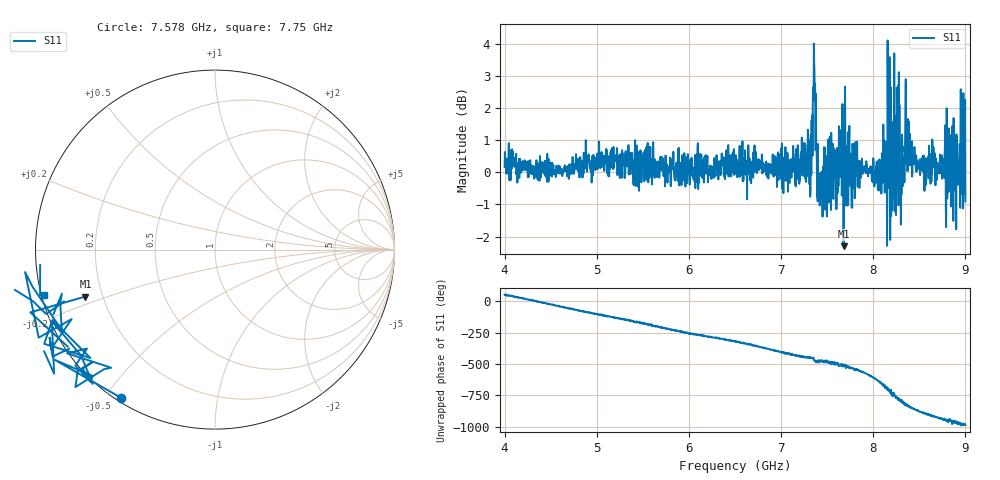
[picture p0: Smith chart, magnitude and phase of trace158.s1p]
! Created with skrf 1.8.0 (http://scikit-rf.org).
# Hz S RI R 50.0
!freq ReS11 ImS11
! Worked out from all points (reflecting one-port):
!   1601 points, 4 GHz to 9 GHz, reference 50 ohm
!   lowest |S11| = -2.3 dB at 7.678 GHz (marker M1), VSWR 7.60, Z = 6.78 - j8.62 ohm
!   phase of S11 starts at 51 deg and turns -1036 deg over the sweep
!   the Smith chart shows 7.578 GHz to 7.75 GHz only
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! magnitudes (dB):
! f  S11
! 4 GHz  0.2
! 4.625 GHz  -0.1
! 5.25 GHz  -0.2
! 5.875 GHz  -0.1
! 6.5 GHz  0.4
! 7.125 GHz  0.3
! 7.294 GHz  0.1
! 7.319 GHz  -0.6
! 7.356 GHz  4.0
! 7.375 GHz  0.7
! 7.4 GHz  0.9
! 7.428 GHz  0.0
! 7.525 GHz  0.3
! 7.588 GHz  0.1
! 7.65 GHz  1.1
! 7.678 GHz  -2.3
! 7.75 GHz  -0.1
! 8.066 GHz  0.4
! 8.178 GHz  3.6
! 8.209 GHz  0.8
! 8.262 GHz  -0.3
! 8.316 GHz  0.7
! 8.334 GHz  0.5
! 8.375 GHz  0.9
! 8.556 GHz  -0.6
! 8.919 GHz  -0.4
! 8.972 GHz  0.4
! 9 GHz  -0.9
